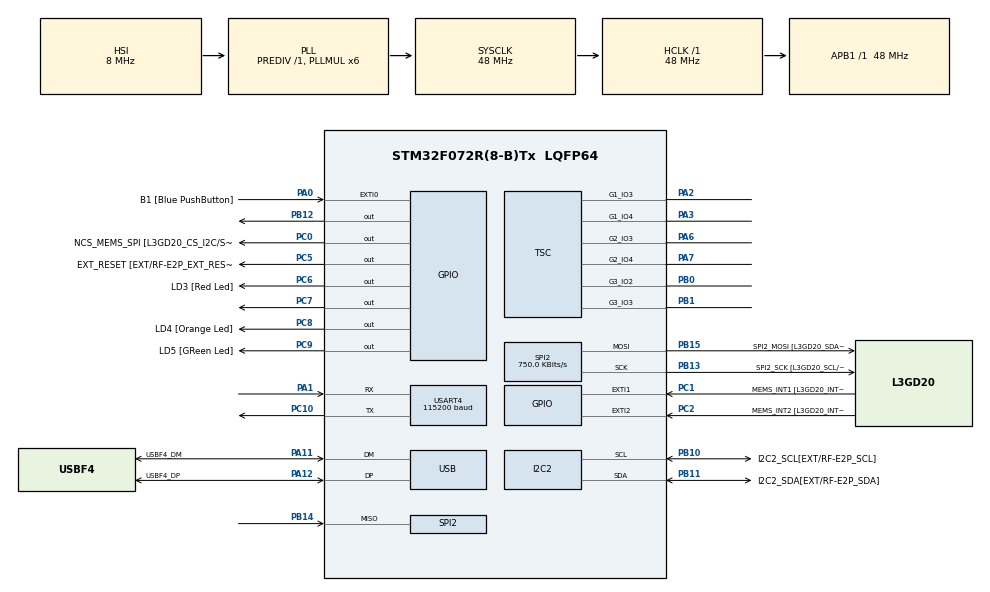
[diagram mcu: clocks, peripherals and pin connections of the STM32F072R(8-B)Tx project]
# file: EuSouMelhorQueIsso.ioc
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I2C2.Timing=0x20303E5D
Mcu.Family=STM32F0
Mcu.Name=STM32F072R(8-B)Tx
Mcu.Package=LQFP64
PA0.GPIO_Label=B1 [Blue PushButton]
PA0.GPIO_ModeDefaultEXTI=GPIO_MODE_EVT_RISING
PA0.Signal=GPXTI0
PA1.Mode=Asynchronous
PA1.Signal=USART4_RX
PA11.GPIO_Label=USBF4_DM
PA11.Mode=Device
PA11.Signal=USB_DM
PA12.GPIO_Label=USBF4_DP
PA12.Mode=Device
PA12.Signal=USB_DP
PA13.GPIO_Label=SWDIO
PA13.Mode=Serial_Wire
PA13.Signal=SYS_SWDIO
PA14.GPIO_Label=SWCLK
PA14.Mode=Serial_Wire
PA14.Signal=SYS_SWCLK
PA2.Mode=G1_IO3-Channel
PA2.Signal=TSC_G1_IO3
PA3.Mode=G1_IO4-Sampling
PA3.Signal=TSC_G1_IO4
PA6.Mode=G2_IO3-Channel
PA6.Signal=TSC_G2_IO3
PA7.Mode=G2_IO4-Sampling
PA7.Signal=TSC_G2_IO4
PB0.Mode=G3_IO2-Channel
PB0.Signal=TSC_G3_IO2
PB1.Mode=G3_IO3-Sampling
PB1.Signal=TSC_G3_IO3
PB10.GPIO_Label=I2C2_SCL[EXT/RF-E2P_SCL]
PB10.GPIO_Pu=GPIO_PULLUP
PB10.Mode=I2C
PB10.Signal=I2C2_SCL
PB11.GPIO_Label=I2C2_SDA[EXT/RF-E2P_SDA]
PB11.GPIO_Pu=GPIO_PULLUP
PB11.Mode=I2C
PB11.Signal=I2C2_SDA
PB12.Signal=GPIO_Output
PB13.GPIO_Label=SPI2_SCK [L3GD20_SCL/SPC]
PB13.Mode=Full_Duplex_Master
PB13.Signal=SPI2_SCK
PB14.Mode=Full_Duplex_Master
PB14.Signal=SPI2_MISO
PB15.GPIO_Label=SPI2_MOSI [L3GD20_SDA/SDI]
PB15.Mode=Full_Duplex_Master
PB15.Signal=SPI2_MOSI
PC0.GPIO_Label=NCS_MEMS_SPI [L3GD20_CS_I2C/SPI]
PC0.Signal=GPIO_Output
PC1.GPIO_Label=MEMS_INT1 [L3GD20_INT1]
PC1.GPIO_ModeDefaultEXTI=GPIO_MODE_EVT_RISING
PC1.Signal=GPXTI1
PC10.Mode=Asynchronous
PC10.Signal=USART4_TX
PC2.GPIO_Label=MEMS_INT2 [L3GD20_INT2]
PC2.GPIO_ModeDefaultEXTI=GPIO_MODE_EVT_RISING
PC2.Signal=GPXTI2
PC5.GPIO_Label=EXT_RESET [EXT/RF-E2P_EXT_RESET]
PC5.Signal=GPIO_Output
PC6.GPIO_Label=LD3 [Red Led]
PC6.Signal=GPIO_Output
PC7.Signal=GPIO_Output
PC8.GPIO_Label=LD4 [Orange Led]
PC8.Signal=GPIO_Output
PC9.GPIO_Label=LD5 [GReen Led]
PC9.Signal=GPIO_Output
ProjectManager.HeapSize=0x200
ProjectManager.StackSize=0x400
ProjectManager.TargetToolchain=STM32CubeIDE
RCC.AHBFreq_Value=48000000
RCC.APB1Freq_Value=48000000
RCC.APB1TimFreq_Value=48000000
RCC.HCLKFreq_Value=48000000
RCC.PLLMUL=RCC_PLL_MUL6
RCC.SYSCLKFreq_VALUE=48000000
RCC.SYSCLKSource=RCC_SYSCLKSOURCE_PLLCLK
SPI2.BaudRatePrescaler=SPI_BAUDRATEPRESCALER_64
SPI2.CLKPhase=SPI_PHASE_2EDGE
SPI2.CLKPolarity=SPI_POLARITY_HIGH
SPI2.CalculateBaudRate=750.0 KBits/s
SPI2.DataSize=SPI_DATASIZE_8BIT
SPI2.Direction=SPI_DIRECTION_2LINES
SPI2.Mode=SPI_MODE_MASTER
SPI2.VirtualType=VM_MASTER
USART4.BaudRate=115200
USART4.VirtualMode-Asynchronous=VM_ASYNC
USB.phy_itface=PCD_PHY_EMBEDDED
USB.speed=PCD_SPEED_FULL
board=STM32F072B-DISCO

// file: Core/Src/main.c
/* USER CODE BEGIN Header */
/**
  ******************************************************************************
  * @file           : main.c
  * @brief          : Main program body
  ******************************************************************************
  * @attention
  *
  * Copyright (c) 2023 STMicroelectronics.
  * All rights reserved.
  *
  * This software is licensed under terms that can be found in the LICENSE file
  * in the root directory of this software component.
  * If no LICENSE file comes with this software, it is provided AS-IS.
  *
  ******************************************************************************
  */
/* USER CODE END Header */
#include "main.h"

/* USER CODE BEGIN Includes */
#include <stdio.h>
#include <string.h>
/* USER CODE END Includes */

I2C_HandleTypeDef hi2c2;

SPI_HandleTypeDef hspi2;

TSC_HandleTypeDef htsc;

UART_HandleTypeDef huart4;

PCD_HandleTypeDef hpcd_USB_FS;

/* USER CODE BEGIN PV */
uint8_t status = 0;
/* USER CODE END PV */

void SystemClock_Config(void);
static void MX_GPIO_Init(void);
static void MX_I2C2_Init(void);
static void MX_TSC_Init(void);
static void MX_USB_PCD_Init(void);
static void MX_SPI2_Init(void);
static void MX_USART4_UART_Init(void);
/* USER CODE BEGIN PFP */
void EnviarCmd(uint8_t* cmd, uint16_t Size);
void LerCmd(uint8_t* cmd, uint8_t* buf, uint16_t Size, uint16_t Size1);
void READ_REGISTER(uint8_t andress, uint16_t *registe);
/* USER CODE END PFP */

int main(void)
{

  /* MCU Configuration--------------------------------------------------------*/

  /* Reset of all peripherals, Initializes the Flash interface and the Systick. */
  HAL_Init();

  /* Configure the system clock */
  SystemClock_Config();

  /* Initialize all configured peripherals */
  MX_GPIO_Init();
  MX_I2C2_Init();
  MX_TSC_Init();
  MX_USB_PCD_Init();
  MX_SPI2_Init();
  MX_USART4_UART_Init();

  /* Infinite loop */
  /* USER CODE BEGIN WHILE */
  uint8_t modoSingleMensure = 0x3F;
  uint8_t readMensure = 0x4F;
  uint8_t MemoryRecall = 0xD0;
  uint16_t valorNull = 0xFFFF;
  uint16_t valorMedio = 0x8000;
  uint8_t buf[8] = {0};
  uint8_t registeBuf[2] = {0};
  uint16_t registe;
  uint8_t writeRegister1[4] = {0x60, 0x00, 0x5C, 0x00};
  uint8_t writeRegister2[4] = {0x60, 0x02, 0xB4, 0x08};

  HAL_GPIO_WritePin(GPIOB, GPIO_PIN_12, GPIO_PIN_SET);
  HAL_Delay(50);
  EnviarCmd(writeRegister1, 4);
  EnviarCmd(writeRegister2, 4);
//  EnviarCmd(&MemoryRecall, 4);
  for(int i = 0; i < 10; i++){
	  READ_REGISTER(i, &registe);
  }

  while (1)
  {
	EnviarCmd(&modoSingleMensure, 1);
	LerCmd(&readMensure, buf, 1, 8);
//
	float temp = ((buf[0] << 8 | buf[1])-46244)/45.2+25;
	float magX = (((buf[2] << 8 | buf[3]) > valorMedio)? -(valorNull - (buf[2] << 8 | buf[3])) : (buf[2] << 8 | buf[3]))*0.537;
	float magY = (((buf[4] << 8 | buf[5]) > valorMedio)? -(valorNull - (buf[4] << 8 | buf[5])) : (buf[4] << 8 | buf[5]))*0.537;
	float magZ = (((buf[6] << 8 | buf[7]) > valorMedio)? -(valorNull - (buf[6] << 8 | buf[7])) : (buf[6] << 8 | buf[7]))*0.979;

	uint8_t tempStr[6] = "";
	sprintf((char *)tempStr,"%d", (int)temp);
	uint8_t magXstr[6] = "";
	sprintf((char *)magXstr,"%d", (int)magX);
	uint8_t magYstr[6] = "";
	sprintf((char *)magYstr,"%d", (int)magY);
	uint8_t magZstr[6] = "";
	sprintf((char *)magZstr,"%d", (int)magZ);
	uint8_t text[50] = "\tTemp: ";

	strcat((char *)text, (char *)tempStr);
	strcat((char *)text, "\tMagX: ");
	strcat((char *)text, (char *)magXstr);
	strcat((char *)text, "\tMagY: ");
	strcat((char *)text, (char *)magYstr);
	strcat((char *)text, "\tMagZ: ");
	strcat((char *)text, (char *)magZstr);
	strcat((char *)text, "\r\n");

	HAL_UART_Transmit(&huart4, text, 50, HAL_MAX_DELAY);
	HAL_Delay(200);
    /* USER CODE END WHILE */

  }
}

void SystemClock_Config(void)
{
  RCC_OscInitTypeDef RCC_OscInitStruct = {0};
  RCC_ClkInitTypeDef RCC_ClkInitStruct = {0};
  RCC_PeriphCLKInitTypeDef PeriphClkInit = {0};

  /** Initializes the RCC Oscillators according to the specified parameters
  * in the RCC_OscInitTypeDef structure.
  */
  RCC_OscInitStruct.OscillatorType = RCC_OSCILLATORTYPE_HSI|RCC_OSCILLATORTYPE_HSI48;
  RCC_OscInitStruct.HSIState = RCC_HSI_ON;
  RCC_OscInitStruct.HSI48State = RCC_HSI48_ON;
  RCC_OscInitStruct.HSICalibrationValue = RCC_HSICALIBRATION_DEFAULT;
  RCC_OscInitStruct.PLL.PLLState = RCC_PLL_ON;
  RCC_OscInitStruct.PLL.PLLSource = RCC_PLLSOURCE_HSI;
  RCC_OscInitStruct.PLL.PLLMUL = RCC_PLL_MUL6;
  RCC_OscInitStruct.PLL.PREDIV = RCC_PREDIV_DIV1;
  if (HAL_RCC_OscConfig(&RCC_OscInitStruct) != HAL_OK)
  {
    Error_Handler();
  }

  /** Initializes the CPU, AHB and APB buses clocks
  */
  RCC_ClkInitStruct.ClockType = RCC_CLOCKTYPE_HCLK|RCC_CLOCKTYPE_SYSCLK
                              |RCC_CLOCKTYPE_PCLK1;
  RCC_ClkInitStruct.SYSCLKSource = RCC_SYSCLKSOURCE_PLLCLK;
  RCC_ClkInitStruct.AHBCLKDivider = RCC_SYSCLK_DIV1;
  RCC_ClkInitStruct.APB1CLKDivider = RCC_HCLK_DIV1;

  if (HAL_RCC_ClockConfig(&RCC_ClkInitStruct, FLASH_LATENCY_1) != HAL_OK)
  {
    Error_Handler();
  }
  PeriphClkInit.PeriphClockSelection = RCC_PERIPHCLK_USB;
  PeriphClkInit.UsbClockSelection = RCC_USBCLKSOURCE_HSI48;

  if (HAL_RCCEx_PeriphCLKConfig(&PeriphClkInit) != HAL_OK)
  {
    Error_Handler();
  }
}

static void MX_I2C2_Init(void)
{

  hi2c2.Instance = I2C2;
  hi2c2.Init.Timing = 0x20303E5D;
  hi2c2.Init.OwnAddress1 = 0;
  hi2c2.Init.AddressingMode = I2C_ADDRESSINGMODE_7BIT;
  hi2c2.Init.DualAddressMode = I2C_DUALADDRESS_DISABLE;
  hi2c2.Init.OwnAddress2 = 0;
  hi2c2.Init.OwnAddress2Masks = I2C_OA2_NOMASK;
  hi2c2.Init.GeneralCallMode = I2C_GENERALCALL_DISABLE;
  hi2c2.Init.NoStretchMode = I2C_NOSTRETCH_DISABLE;
  if (HAL_I2C_Init(&hi2c2) != HAL_OK)
  {
    Error_Handler();
  }

  /** Configure Analogue filter
  */
  if (HAL_I2CEx_ConfigAnalogFilter(&hi2c2, I2C_ANALOGFILTER_ENABLE) != HAL_OK)
  {
    Error_Handler();
  }

  /** Configure Digital filter
  */
  if (HAL_I2CEx_ConfigDigitalFilter(&hi2c2, 0) != HAL_OK)
  {
    Error_Handler();
  }

}

static void MX_SPI2_Init(void)
{

  /* SPI2 parameter configuration*/
  hspi2.Instance = SPI2;
  hspi2.Init.Mode = SPI_MODE_MASTER;
  hspi2.Init.Direction = SPI_DIRECTION_2LINES;
  hspi2.Init.DataSize = SPI_DATASIZE_8BIT;
  hspi2.Init.CLKPolarity = SPI_POLARITY_HIGH;
  hspi2.Init.CLKPhase = SPI_PHASE_2EDGE;
  hspi2.Init.NSS = SPI_NSS_SOFT;
  hspi2.Init.BaudRatePrescaler = SPI_BAUDRATEPRESCALER_64;
  hspi2.Init.FirstBit = SPI_FIRSTBIT_MSB;
  hspi2.Init.TIMode = SPI_TIMODE_DISABLE;
  hspi2.Init.CRCCalculation = SPI_CRCCALCULATION_DISABLE;
  hspi2.Init.CRCPolynomial = 7;
  hspi2.Init.CRCLength = SPI_CRC_LENGTH_DATASIZE;
  hspi2.Init.NSSPMode = SPI_NSS_PULSE_DISABLE;
  if (HAL_SPI_Init(&hspi2) != HAL_OK)
  {
    Error_Handler();
  }

}

static void MX_TSC_Init(void)
{

  /** Configure the TSC peripheral
  */
  htsc.Instance = TSC;
  htsc.Init.CTPulseHighLength = TSC_CTPH_2CYCLES;
  htsc.Init.CTPulseLowLength = TSC_CTPL_2CYCLES;
  htsc.Init.SpreadSpectrum = DISABLE;
  htsc.Init.SpreadSpectrumDeviation = 1;
  htsc.Init.SpreadSpectrumPrescaler = TSC_SS_PRESC_DIV1;
  htsc.Init.PulseGeneratorPrescaler = TSC_PG_PRESC_DIV4;
  htsc.Init.MaxCountValue = TSC_MCV_8191;
  htsc.Init.IODefaultMode = TSC_IODEF_OUT_PP_LOW;
  htsc.Init.SynchroPinPolarity = TSC_SYNC_POLARITY_FALLING;
  htsc.Init.AcquisitionMode = TSC_ACQ_MODE_NORMAL;
  htsc.Init.MaxCountInterrupt = DISABLE;
  htsc.Init.ChannelIOs = TSC_GROUP1_IO3|TSC_GROUP2_IO3|TSC_GROUP3_IO2;
  htsc.Init.ShieldIOs = 0;
  htsc.Init.SamplingIOs = TSC_GROUP1_IO4|TSC_GROUP2_IO4|TSC_GROUP3_IO3;
  if (HAL_TSC_Init(&htsc) != HAL_OK)
  {
    Error_Handler();
  }

}

static void MX_USART4_UART_Init(void)
{

  huart4.Instance = USART4;
  huart4.Init.BaudRate = 115200;
  huart4.Init.WordLength = UART_WORDLENGTH_8B;
  huart4.Init.StopBits = UART_STOPBITS_1;
  huart4.Init.Parity = UART_PARITY_NONE;
  huart4.Init.Mode = UART_MODE_TX_RX;
  huart4.Init.HwFlowCtl = UART_HWCONTROL_NONE;
  huart4.Init.OverSampling = UART_OVERSAMPLING_16;
  huart4.Init.OneBitSampling = UART_ONE_BIT_SAMPLE_DISABLE;
  huart4.AdvancedInit.AdvFeatureInit = UART_ADVFEATURE_NO_INIT;
  if (HAL_UART_Init(&huart4) != HAL_OK)
  {
    Error_Handler();
  }

}

static void MX_USB_PCD_Init(void)
{

  hpcd_USB_FS.Instance = USB;
  hpcd_USB_FS.Init.dev_endpoints = 8;
  hpcd_USB_FS.Init.speed = PCD_SPEED_FULL;
  hpcd_USB_FS.Init.phy_itface = PCD_PHY_EMBEDDED;
  hpcd_USB_FS.Init.low_power_enable = DISABLE;
  hpcd_USB_FS.Init.lpm_enable = DISABLE;
  hpcd_USB_FS.Init.battery_charging_enable = DISABLE;
  if (HAL_PCD_Init(&hpcd_USB_FS) != HAL_OK)
  {
    Error_Handler();
  }

}

static void MX_GPIO_Init(void)
{
  GPIO_InitTypeDef GPIO_InitStruct = {0};

  /* GPIO Ports Clock Enable */
  __HAL_RCC_GPIOC_CLK_ENABLE();
  __HAL_RCC_GPIOA_CLK_ENABLE();
  __HAL_RCC_GPIOB_CLK_ENABLE();

  /*Configure GPIO pin Output Level */
  HAL_GPIO_WritePin(GPIOC, NCS_MEMS_SPI_Pin|EXT_RESET_Pin|LD3_Pin|GPIO_PIN_7
                          |LD4_Pin|LD5_Pin, GPIO_PIN_RESET);

  /*Configure GPIO pin Output Level */
  HAL_GPIO_WritePin(GPIOB, GPIO_PIN_12, GPIO_PIN_RESET);

  /*Configure GPIO pins : NCS_MEMS_SPI_Pin EXT_RESET_Pin LD3_Pin PC7
                           LD4_Pin LD5_Pin */
  GPIO_InitStruct.Pin = NCS_MEMS_SPI_Pin|EXT_RESET_Pin|LD3_Pin|GPIO_PIN_7
                          |LD4_Pin|LD5_Pin;
  GPIO_InitStruct.Mode = GPIO_MODE_OUTPUT_PP;
  GPIO_InitStruct.Pull = GPIO_NOPULL;
  GPIO_InitStruct.Speed = GPIO_SPEED_FREQ_LOW;
  HAL_GPIO_Init(GPIOC, &GPIO_InitStruct);

  /*Configure GPIO pins : MEMS_INT1_Pin MEMS_INT2_Pin */
  GPIO_InitStruct.Pin = MEMS_INT1_Pin|MEMS_INT2_Pin;
  GPIO_InitStruct.Mode = GPIO_MODE_EVT_RISING;
  GPIO_InitStruct.Pull = GPIO_NOPULL;
  HAL_GPIO_Init(GPIOC, &GPIO_InitStruct);

  /*Configure GPIO pin : B1_Pin */
  GPIO_InitStruct.Pin = B1_Pin;
  GPIO_InitStruct.Mode = GPIO_MODE_EVT_RISING;
  GPIO_InitStruct.Pull = GPIO_NOPULL;
  HAL_GPIO_Init(B1_GPIO_Port, &GPIO_InitStruct);

  /*Configure GPIO pin : PB12 */
  GPIO_InitStruct.Pin = GPIO_PIN_12;
  GPIO_InitStruct.Mode = GPIO_MODE_OUTPUT_PP;
  GPIO_InitStruct.Pull = GPIO_NOPULL;
  GPIO_InitStruct.Speed = GPIO_SPEED_FREQ_LOW;
  HAL_GPIO_Init(GPIOB, &GPIO_InitStruct);

}

/* USER CODE BEGIN 4 */

void EnviarCmd(uint8_t* cmd, uint16_t Size){
	// Start SPI Transmission
	HAL_GPIO_WritePin(GPIOB, GPIO_PIN_12, GPIO_PIN_RESET);
	// Select Write register command
	// Set AH = 0x00, BIST disabled
	// Set AL = 0x5C, Hall plate spinning rate = DEFAULT, GAIN_SEL = 5
	// Select address register, (0x00 << 2)
	HAL_SPI_Transmit(&hspi2, cmd, Size, HAL_MAX_DELAY);
	HAL_SPI_Receive(&hspi2, &status, 1, HAL_MAX_DELAY);
	// Stop I2C Transmission
	HAL_GPIO_WritePin(GPIOB, GPIO_PIN_12, GPIO_PIN_SET);
	HAL_Delay(300);
}

void LerCmd(uint8_t* cmd, uint8_t* buf, uint16_t Size, uint16_t Size1){
	// Start SPI Transmission
	HAL_GPIO_WritePin(GPIOB, GPIO_PIN_12, GPIO_PIN_RESET);
	// Select Read register command
	// Select address register, (0x00 << 2)
	HAL_SPI_Transmit(&hspi2, cmd, Size, HAL_MAX_DELAY);
	HAL_SPI_Receive(&hspi2, &status, 1, HAL_MAX_DELAY);
	HAL_SPI_Receive(&hspi2, buf, Size1, HAL_MAX_DELAY);
	// Stop I2C Transmission
	HAL_GPIO_WritePin(GPIOB, GPIO_PIN_12, GPIO_PIN_SET);
	HAL_Delay(300);
}

void READ_REGISTER(uint8_t andress, uint16_t *registe){
        uint8_t readRegister[2];
        uint8_t registeBuf[2];

        readRegister[0] = 0x50;
        readRegister[1] = andress << 2;

        LerCmd(readRegister, registeBuf, 2, 2);
        *registe = registeBuf[0] << 8 | registeBuf[1];
    }
/* USER CODE END 4 */

void Error_Handler(void)
{
  __disable_irq();
  while (1)
  {
  }
}
